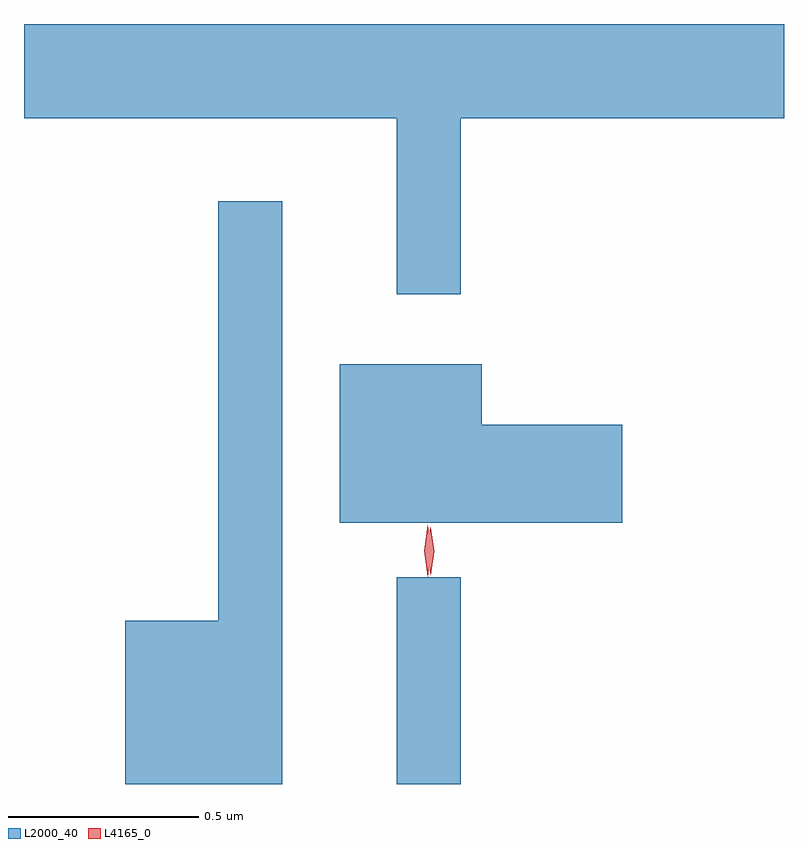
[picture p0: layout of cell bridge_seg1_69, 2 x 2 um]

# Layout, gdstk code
import gdstk
lib = gdstk.Library(unit=1e-6, precision=1e-09)
def R(c, l, rs):  # rectangles x0, y0, x1, y1
    for r in rs: c.add(gdstk.rectangle(r[:2], r[2:], *l))
def P(c, l, *ps):  # polygons
    for p in ps: c.add(gdstk.Polygon(p, *l))
L2000_40 = (2000, 40)
L4165_0 = (4165, 0)

bridge_seg1_69 = lib.new_cell('bridge_seg1_69')
R(bridge_seg1_69, L2000_40, [(1907.281,853.424,1907.449,853.968)])
P(bridge_seg1_69, L2000_40, [(1907.449,855.176),(1908.3,855.176),(1908.3,855.424),(1906.3,855.424),(1906.3,855.176),(1907.281,855.176),(1907.281,854.713),(1907.449,854.713)],
  [(1906.979,854.958),(1906.811,854.958),(1906.811,853.854),(1906.566,853.854),(1906.566,853.424),(1906.979,853.424)],
  [(1907.874,854.369),(1907.504,854.369),(1907.504,854.529),(1907.131,854.529),(1907.131,854.111),(1907.874,854.111)])
P(bridge_seg1_69, L4165_0, [(1907.362,853.97),(1907.353,854.038),(1907.362,854.105),(1907.362,854.106),(1907.363,854.105),(1907.372,854.038),(1907.363,853.97),(1907.363,853.97)],
  [(1907.371,853.973),(1907.37,853.974),(1907.36,854.036),(1907.369,854.099),(1907.369,854.1),(1907.37,854.099),(1907.38,854.036),(1907.371,853.974)])

lib.write_gds('bridge_seg1_69.gds')
